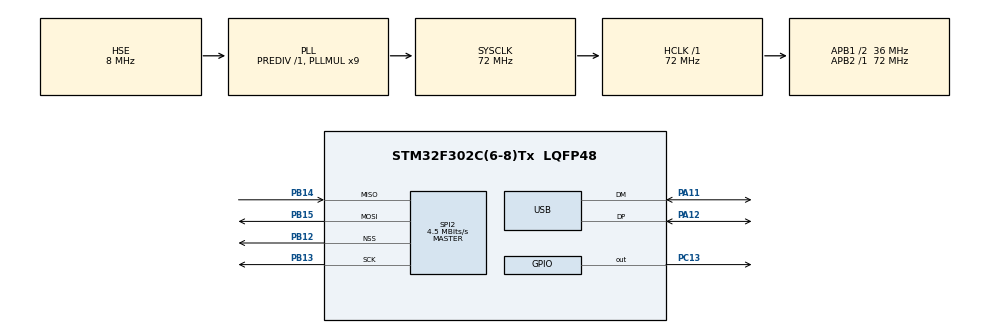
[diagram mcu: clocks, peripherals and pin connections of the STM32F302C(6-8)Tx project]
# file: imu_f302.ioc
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Mcu.Family=STM32F3
Mcu.Name=STM32F302C(6-8)Tx
Mcu.Package=LQFP48
NVIC.PriorityGroup=NVIC_PRIORITYGROUP_4
NVIC.TIM1_UP_TIM16_IRQn=true\:0\:0\:false\:false\:true\:true\:true\:true
NVIC.USB_LP_CAN_RX0_IRQn=true\:0\:0\:false\:false\:true\:false\:true\:true
PA11.Mode=Device
PA11.Signal=USB_DM
PA12.Mode=Device
PA12.Signal=USB_DP
PA13.Mode=Serial_Wire
PA13.Signal=SYS_JTMS-SWDIO
PA14.Mode=Serial_Wire
PA14.Signal=SYS_JTCK-SWCLK
PB12.Mode=NSS_Signal_Hard_Output
PB12.Signal=SPI2_NSS
PB13.Mode=Full_Duplex_Master
PB13.Signal=SPI2_SCK
PB14.Mode=Full_Duplex_Master
PB14.Signal=SPI2_MISO
PB15.Mode=Full_Duplex_Master
PB15.Signal=SPI2_MOSI
PC13.PinState=GPIO_PIN_SET
PC13.Signal=GPIO_Output
PF0-OSC_IN.Mode=HSE-External-Oscillator
PF0-OSC_IN.Signal=RCC_OSC_IN
PF1-OSC_OUT.Mode=HSE-External-Oscillator
PF1-OSC_OUT.Signal=RCC_OSC_OUT
ProjectManager.HeapSize=0x200
ProjectManager.StackSize=0x400
ProjectManager.TargetToolchain=MDK-ARM V5.27
RCC.AHBFreq_Value=72000000
RCC.APB1CLKDivider=RCC_HCLK_DIV2
RCC.APB1Freq_Value=36000000
RCC.APB1TimFreq_Value=72000000
RCC.APB2Freq_Value=72000000
RCC.APB2TimFreq_Value=72000000
RCC.CortexFreq_Value=72000000
RCC.EnbaleCSS=true
RCC.HCLKFreq_Value=72000000
RCC.HSE_VALUE=8000000
RCC.HSI_VALUE=8000000
RCC.LSE_VALUE=32768
RCC.PLLMUL=RCC_PLL_MUL9
RCC.PRESCALERUSB=RCC_USBCLKSOURCE_PLL_DIV1_5
RCC.SYSCLKFreq_VALUE=72000000
RCC.SYSCLKSourceVirtual=RCC_SYSCLKSOURCE_PLLCLK
RCC.TIM1Selection=RCC_TIM1CLK_PLLCLK
RCC.USBFreq_Value=48000000
SPI2.BaudRatePrescaler=SPI_BAUDRATEPRESCALER_8
SPI2.CalculateBaudRate=4.5 MBits/s
SPI2.DataSize=SPI_DATASIZE_16BIT
SPI2.Direction=SPI_DIRECTION_2LINES
SPI2.Mode=SPI_MODE_MASTER
SPI2.VirtualNSS=VM_NSSHARD
SPI2.VirtualType=VM_MASTER
TIM16.Period=5000-1
TIM16.Prescaler=720-1
TIM17.Prescaler=72-1
USB_DEVICE.CLASS_NAME_FS=CDC
USB_DEVICE.VirtualMode=Cdc
USB_DEVICE.VirtualModeFS=Cdc_FS
VP_TIM16_VS_ClockSourceINT.Mode=Enable_Timer
VP_TIM17_VS_ClockSourceINT.Mode=Enable_Timer
VP_USB_DEVICE_VS_USB_DEVICE_CDC_FS.Mode=CDC_FS
board=custom

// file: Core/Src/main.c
/* USER CODE BEGIN Header */
/**
  ******************************************************************************
  * @file           : main.c
  * @brief          : Main program body
  ******************************************************************************
  * @attention
  *
  * Copyright (c) 2022 STMicroelectronics.
  * All rights reserved.
  *
  * This software is licensed under terms that can be found in the LICENSE file
  * in the root directory of this software component.
  * If no LICENSE file comes with this software, it is provided AS-IS.
  *
  ******************************************************************************
  Date        Author        Notes
  2023/05/05 SourceLizi  Initial release
  2024/01/26 SourceLizi  Fix the bug that data was read when QMI8658C not ready, update imu gyro bias
  */
/* USER CODE END Header */
#include "main.h"
#include "usb_device.h"

/* USER CODE BEGIN Includes */
#include "imu_eskf.h"
#include "usbd_cdc_if.h"
/* USER CODE END Includes */

 SPI_HandleTypeDef hspi2;

TIM_HandleTypeDef htim16;
TIM_HandleTypeDef htim17;

/* USER CODE BEGIN PV */
//static uint8_t rx, tx, addr = 0x01;
uint8_t upload_flag = 0;
uint8_t first_data = 0;
//uint16_t tx_16,rx_16;
extern USBD_HandleTypeDef hUsbDeviceFS;

#define IMU_PI 3.14159265358979f

typedef struct {
	int16_t acc[3];
	int16_t gyro[3];
}gyro_acc_data_t;

typedef __packed struct{
	uint16_t header;
	uint8_t func;
	uint8_t len;

	int16_t ROL;
	int16_t PIT;
	int16_t YAW;
	uint16_t dummy1;
	uint32_t dummy2;

	uint8_t sum;
}packet_t;

uint32_t timetamp,last_timetamp = 0;
uint32_t delta_t;

uint8_t spi_byte;

packet_t upload_packet;
gyro_acc_data_t imu_data;
imu_data_f32_t imu_data_f32;
euler_t eular;
/* USER CODE END PV */

void SystemClock_Config(void);
static void MX_GPIO_Init(void);
static void MX_SPI2_Init(void);
static void MX_TIM16_Init(void);
static void MX_TIM17_Init(void);

/* USER CODE BEGIN 0 */
//void spi_read_bytes(uint8_t addr, uint8_t* rx_data,uint16_t size){
//		while((SPI2->SR & SPI_SR_BSY)==SPI_SR_BSY);
//		HAL_GPIO_WritePin(GPIOB,GPIO_PIN_12,GPIO_PIN_RESET);//CS low
//
//		SPI2->DR = addr | 0x80;
//		for(int i=0;i < size; i++){
//			while((SPI2->SR & SPI_SR_BSY)==SPI_SR_BSY);
//			rx_data[i] =  SPI2->DR;
//		}
//
//		while(HAL_GPIO_ReadPin(GPIOB,GPIO_PIN_13) == GPIO_PIN_SET);
//		//HAL_SPI_TransmitReceive(&hspi2,&tx,&rx,1,100);

//		HAL_GPIO_WritePin(GPIOB,GPIO_PIN_12,GPIO_PIN_SET);//CS high
//}

//void spi_write_bytes(uint8_t addr, uint8_t* tx_data,uint16_t size){
//	while((SPI2->SR & SPI_SR_BSY)==SPI_SR_BSY);
//
//	HAL_GPIO_WritePin(GPIOB,GPIO_PIN_12,GPIO_PIN_RESET);//CS low
//		SPI2->DR = addr & 0x7F;
//		for(int i=0;i < size; i++){
//			while((SPI2->SR & SPI_SR_BSY)==SPI_SR_BSY);
//			SPI2->DR = tx_data[i];
//		}
//		while((SPI2->SR & SPI_SR_BSY)==SPI_SR_BSY);
//		while(HAL_GPIO_ReadPin(GPIOB,GPIO_PIN_13) == GPIO_PIN_SET);
//		//HAL_SPI_TransmitReceive(&hspi2,&tx,&rx,1,100);

//		HAL_GPIO_WritePin(GPIOB,GPIO_PIN_12,GPIO_PIN_SET);//CS high
//}

void spi_write_reg(uint8_t addr, uint8_t tx_byte){
	uint16_t rx_data, tx_data;
	tx_data  = ((uint16_t)(addr & 0x7F) << 8) | (uint16_t)tx_byte;
	HAL_SPI_TransmitReceive(&hspi2,(uint8_t*)&tx_data,(uint8_t*)&rx_data,1,100);
}

uint8_t spi_read_reg(uint8_t addr){
	uint16_t rx_data, tx_data = 0;
	tx_data  = (uint16_t)(addr | 0x80) << 8;
	HAL_SPI_TransmitReceive(&hspi2,(uint8_t*)&tx_data,(uint8_t*)&rx_data,1,100);
	return (uint8_t)(rx_data & 0xFF);
}

void HAL_TIM_PeriodElapsedCallback(TIM_HandleTypeDef *htim){
	upload_flag = 1;
}

uint8_t data_to_send[16];
#define BYTE0(dwTemp)       ( *( (char *)(&dwTemp)		) )
#define BYTE1(dwTemp)       ( *( (char *)(&dwTemp) + 1) )
#define BYTE2(dwTemp)       ( *( (char *)(&dwTemp) + 2) )
#define BYTE3(dwTemp)       ( *( (char *)(&dwTemp) + 3) )

void ANO_DT_Send_Status(float angle_rol, float angle_pit, float angle_yaw, int32_t alt, uint8_t fly_model, uint8_t armed)
{
	uint8_t _cnt=0;
	int16_t _temp;
	int32_t _temp2 = alt;

	data_to_send[_cnt++]=0xAA;
	data_to_send[_cnt++]=0xAA;
	data_to_send[_cnt++]=0x01;
	data_to_send[_cnt++]=0;

	_temp = (int)(angle_rol*100);
	data_to_send[_cnt++]=BYTE1(_temp);
	data_to_send[_cnt++]=BYTE0(_temp);
	_temp = (int)(angle_pit*100);
	data_to_send[_cnt++]=BYTE1(_temp);
	data_to_send[_cnt++]=BYTE0(_temp);
	_temp = (int)(angle_yaw*100);
	data_to_send[_cnt++]=BYTE1(_temp);
	data_to_send[_cnt++]=BYTE0(_temp);

	data_to_send[_cnt++]=BYTE3(_temp2);
	data_to_send[_cnt++]=BYTE2(_temp2);
	data_to_send[_cnt++]=BYTE1(_temp2);
	data_to_send[_cnt++]=BYTE0(_temp2);

	data_to_send[_cnt++] = fly_model;

	data_to_send[_cnt++] = armed;

	data_to_send[3] = _cnt-4;

	uint8_t sum = 0;
	for(uint8_t i=0;i<_cnt;i++)
		sum += data_to_send[i];
	data_to_send[_cnt++]=sum;

	CDC_Transmit_FS((uint8_t*)data_to_send, _cnt);
}

/* USER CODE END 0 */

int main(void)
{

  /* MCU Configuration--------------------------------------------------------*/

  /* Reset of all peripherals, Initializes the Flash interface and the Systick. */
  HAL_Init();

  /* Configure the system clock */
  SystemClock_Config();

  /* Initialize all configured peripherals */
  MX_GPIO_Init();
  MX_SPI2_Init();
  MX_USB_DEVICE_Init();
  MX_TIM16_Init();
  MX_TIM17_Init();

  /* Infinite loop */
  /* USER CODE BEGIN WHILE */
	//__HAL_SPI_ENABLE(&hspi2);

	HAL_Delay(2000);
//	tx = 0x01;
//	spi_write_bytes(0x60,&tx,1);
//	HAL_Delay(20);
//
//	tx = 0x7F;
//	spi_write_bytes(0x08,&tx,1);
//	HAL_Delay(80);
	spi_write_reg(0x60, 0x01);
	HAL_Delay(30);
	spi_write_reg(0x02,0x60);
	spi_write_reg(0x08,0x03);
	spi_write_reg(0x03,0x22); //+-8g , 2khz
	spi_write_reg(0x04, 0x72); //2048dps, 2khz
	//spi_write_reg(0x06, 0x55);
	imu_eskf_init();
	upload_packet.header = 0xAAAA;
	upload_packet.func = 0x01;
	upload_packet.len = 12;

	HAL_Delay(20);

	HAL_TIM_Base_Start_IT(&htim16); //10Hz

	last_timetamp = 0;
	TIM17->CNT = 0;
	HAL_TIM_Base_Start(&htim17);

  while (1)
  {
    /* USER CODE END WHILE */

    /* USER CODE BEGIN 3 */
		//spi_read_bytes(addr,&rx,1);
		spi_byte = spi_read_reg(0x2E); //STATUS0
		if((spi_byte & 0x03) == 0x03){
				timetamp = TIM17->CNT;
				for(int i=0;i<12;i++){
						((uint8_t*)&imu_data)[i] = spi_read_reg(0x35+i);
				}
		//		for(int i=0;i<3;i++){
		//				((uint8_t*)&timetamp)[i] = spi_read_reg(0x30+i);
		//		}
				if(timetamp < last_timetamp){
					delta_t = (65536 - last_timetamp) + timetamp;
				}else{
					delta_t = timetamp - last_timetamp;
				}
				last_timetamp = timetamp;

				imu_data_f32.ax = imu_data.acc[0] / 32768.0f * 8.0f;
				imu_data_f32.ay = imu_data.acc[1] / 32768.0f * 8.0f;
				imu_data_f32.az = imu_data.acc[2] / 32768.0f * 8.0f;

				imu_data_f32.gx = (imu_data.gyro[0]+133) / 32768.0f * 2048 /180*IMU_PI ;
				imu_data_f32.gy = (imu_data.gyro[1]+31) / 32768.0f * 2048/180*IMU_PI;
				imu_data_f32.gz = (imu_data.gyro[2]+11) / 32768.0f * 2048/180*IMU_PI;

				imu_eskf_update(&imu_data_f32, ((float)delta_t)/1000000.0f);
				imu_eskf_eular(&eular);

				if(upload_flag){
					upload_flag = 0;
					if(hUsbDeviceFS.dev_state == USBD_STATE_CONFIGURED){
						ANO_DT_Send_Status(-eular.roll, eular.pitch, -eular.yaw, 0,0,0);
						HAL_GPIO_TogglePin(GPIOC, GPIO_PIN_13);
					}else{
						HAL_GPIO_WritePin(GPIOC, GPIO_PIN_13,GPIO_PIN_SET);
					}
				}
			}
//
//		//spi_read_bytes(0x3B,(uint8_t*)gyro_data,6);
//
		//HAL_GPIO_TogglePin(GPIOC,GPIO_PIN_13);
		//HAL_Delay(1);

  }
  /* USER CODE END 3 */
}

void SystemClock_Config(void)
{
  RCC_OscInitTypeDef RCC_OscInitStruct = {0};
  RCC_ClkInitTypeDef RCC_ClkInitStruct = {0};
  RCC_PeriphCLKInitTypeDef PeriphClkInit = {0};

  /** Initializes the RCC Oscillators according to the specified parameters
  * in the RCC_OscInitTypeDef structure.
  */
  RCC_OscInitStruct.OscillatorType = RCC_OSCILLATORTYPE_HSE;
  RCC_OscInitStruct.HSEState = RCC_HSE_ON;
  RCC_OscInitStruct.HSEPredivValue = RCC_HSE_PREDIV_DIV1;
  RCC_OscInitStruct.HSIState = RCC_HSI_ON;
  RCC_OscInitStruct.PLL.PLLState = RCC_PLL_ON;
  RCC_OscInitStruct.PLL.PLLSource = RCC_PLLSOURCE_HSE;
  RCC_OscInitStruct.PLL.PLLMUL = RCC_PLL_MUL9;
  if (HAL_RCC_OscConfig(&RCC_OscInitStruct) != HAL_OK)
  {
    Error_Handler();
  }

  /** Initializes the CPU, AHB and APB buses clocks
  */
  RCC_ClkInitStruct.ClockType = RCC_CLOCKTYPE_HCLK|RCC_CLOCKTYPE_SYSCLK
                              |RCC_CLOCKTYPE_PCLK1|RCC_CLOCKTYPE_PCLK2;
  RCC_ClkInitStruct.SYSCLKSource = RCC_SYSCLKSOURCE_PLLCLK;
  RCC_ClkInitStruct.AHBCLKDivider = RCC_SYSCLK_DIV1;
  RCC_ClkInitStruct.APB1CLKDivider = RCC_HCLK_DIV2;
  RCC_ClkInitStruct.APB2CLKDivider = RCC_HCLK_DIV1;

  if (HAL_RCC_ClockConfig(&RCC_ClkInitStruct, FLASH_LATENCY_2) != HAL_OK)
  {
    Error_Handler();
  }
  PeriphClkInit.PeriphClockSelection = RCC_PERIPHCLK_USB|RCC_PERIPHCLK_TIM16
                              |RCC_PERIPHCLK_TIM17;
  PeriphClkInit.USBClockSelection = RCC_USBCLKSOURCE_PLL_DIV1_5;
  PeriphClkInit.Tim16ClockSelection = RCC_TIM16CLK_HCLK;
  PeriphClkInit.Tim17ClockSelection = RCC_TIM17CLK_HCLK;
  if (HAL_RCCEx_PeriphCLKConfig(&PeriphClkInit) != HAL_OK)
  {
    Error_Handler();
  }

  /** Enables the Clock Security System
  */
  HAL_RCC_EnableCSS();
}

static void MX_SPI2_Init(void)
{

  /* SPI2 parameter configuration*/
  hspi2.Instance = SPI2;
  hspi2.Init.Mode = SPI_MODE_MASTER;
  hspi2.Init.Direction = SPI_DIRECTION_2LINES;
  hspi2.Init.DataSize = SPI_DATASIZE_16BIT;
  hspi2.Init.CLKPolarity = SPI_POLARITY_LOW;
  hspi2.Init.CLKPhase = SPI_PHASE_1EDGE;
  hspi2.Init.NSS = SPI_NSS_HARD_OUTPUT;
  hspi2.Init.BaudRatePrescaler = SPI_BAUDRATEPRESCALER_8;
  hspi2.Init.FirstBit = SPI_FIRSTBIT_MSB;
  hspi2.Init.TIMode = SPI_TIMODE_DISABLE;
  hspi2.Init.CRCCalculation = SPI_CRCCALCULATION_DISABLE;
  hspi2.Init.CRCPolynomial = 7;
  hspi2.Init.CRCLength = SPI_CRC_LENGTH_DATASIZE;
  hspi2.Init.NSSPMode = SPI_NSS_PULSE_ENABLE;
  if (HAL_SPI_Init(&hspi2) != HAL_OK)
  {
    Error_Handler();
  }

}

static void MX_TIM16_Init(void)
{

  htim16.Instance = TIM16;
  htim16.Init.Prescaler = 720-1;
  htim16.Init.CounterMode = TIM_COUNTERMODE_UP;
  htim16.Init.Period = 5000-1;
  htim16.Init.ClockDivision = TIM_CLOCKDIVISION_DIV1;
  htim16.Init.RepetitionCounter = 0;
  htim16.Init.AutoReloadPreload = TIM_AUTORELOAD_PRELOAD_DISABLE;
  if (HAL_TIM_Base_Init(&htim16) != HAL_OK)
  {
    Error_Handler();
  }

}

static void MX_TIM17_Init(void)
{

  htim17.Instance = TIM17;
  htim17.Init.Prescaler = 72-1;
  htim17.Init.CounterMode = TIM_COUNTERMODE_UP;
  htim17.Init.Period = 65535;
  htim17.Init.ClockDivision = TIM_CLOCKDIVISION_DIV1;
  htim17.Init.RepetitionCounter = 0;
  htim17.Init.AutoReloadPreload = TIM_AUTORELOAD_PRELOAD_DISABLE;
  if (HAL_TIM_Base_Init(&htim17) != HAL_OK)
  {
    Error_Handler();
  }

}

static void MX_GPIO_Init(void)
{
  GPIO_InitTypeDef GPIO_InitStruct = {0};

  /* GPIO Ports Clock Enable */
  __HAL_RCC_GPIOC_CLK_ENABLE();
  __HAL_RCC_GPIOF_CLK_ENABLE();
  __HAL_RCC_GPIOB_CLK_ENABLE();
  __HAL_RCC_GPIOA_CLK_ENABLE();

  /*Configure GPIO pin Output Level */
  HAL_GPIO_WritePin(GPIOC, GPIO_PIN_13, GPIO_PIN_SET);

  /*Configure GPIO pin : PC13 */
  GPIO_InitStruct.Pin = GPIO_PIN_13;
  GPIO_InitStruct.Mode = GPIO_MODE_OUTPUT_PP;
  GPIO_InitStruct.Pull = GPIO_NOPULL;
  GPIO_InitStruct.Speed = GPIO_SPEED_FREQ_LOW;
  HAL_GPIO_Init(GPIOC, &GPIO_InitStruct);

}

void Error_Handler(void)
{
  __disable_irq();
  while (1)
  {
  }
}
